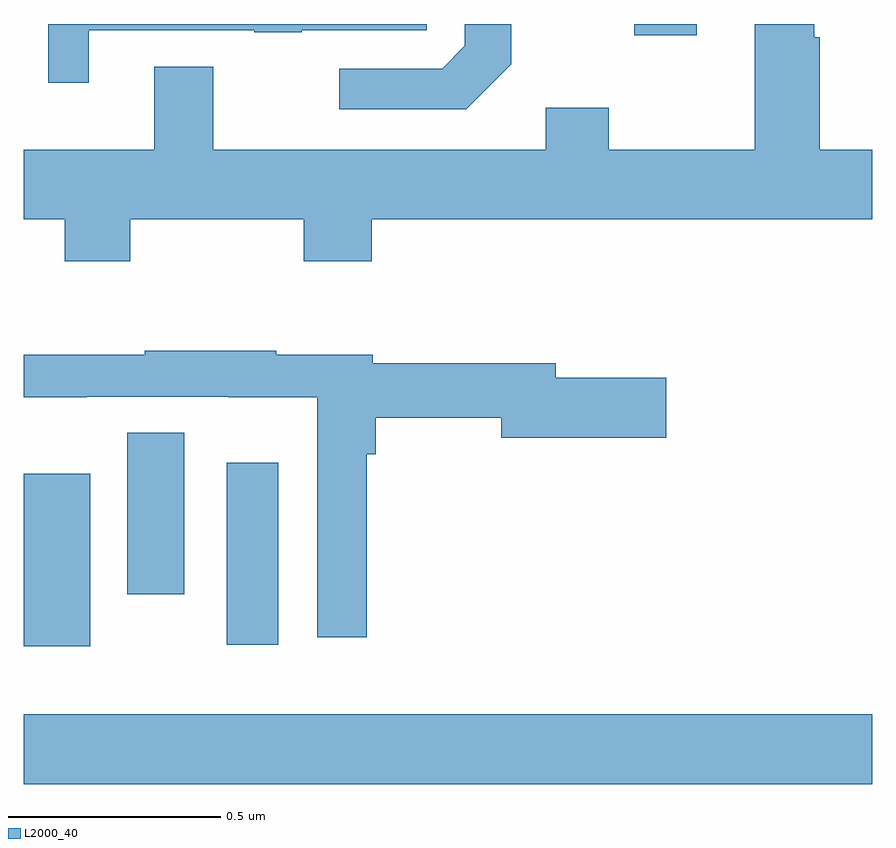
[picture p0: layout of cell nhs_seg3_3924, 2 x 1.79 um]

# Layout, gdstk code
import gdstk
lib = gdstk.Library(unit=1e-6, precision=1e-09)
def R(c, l, rs):  # rectangles x0, y0, x1, y1
    for r in rs: c.add(gdstk.rectangle(r[:2], r[2:], *l))
def P(c, l, *ps):  # polygons
    for p in ps: c.add(gdstk.Polygon(p, *l))
L2000_40 = (2000, 40)

nhs_seg3_3924 = lib.new_cell('nhs_seg3_3924')
R(nhs_seg3_3924, L2000_40, [(160,675.608,162,675.772), (160,675.933,160.156,676.339), (160.478,675.936,160.6,676.366), (160.244,676.056,160.378,676.436), (161.439,677.373,161.587,677.4)])
P(nhs_seg3_3924, L2000_40, [(160.251,676.94),(160.66,676.94),(160.66,676.841),(160.82,676.841),(160.82,676.94),(162,676.94),(162,677.104),(161.876,677.104),(161.876,677.369),(161.863,677.369),(161.863,677.4),(161.723,677.4),(161.723,677.104),(161.379,677.104),(161.379,677.203),(161.231,677.203),(161.231,677.104),(160.447,677.104),(160.447,677.299),(160.307,677.299),(160.307,677.104),(160,677.104),(160,676.94),(160.096,676.94),(160.096,676.841),(160.251,676.841)],
  [(161.149,677.305),(161.149,677.4),(161.04,677.4),(161.04,677.349),(160.986,677.295),(160.743,677.295),(160.743,677.199),(161.043,677.199)],
  [(160.153,677.385),(160.543,677.385),(160.543,677.38),(160.655,677.38),(160.655,677.385),(160.95,677.385),(160.95,677.4),(160.057,677.4),(160.057,677.262),(160.153,677.262)],
  [(160.808,676.385),(160.83,676.385),(160.83,676.471),(161.126,676.471),(161.126,676.424),(161.515,676.424),(161.515,676.566),(161.254,676.566),(161.254,676.6),(160.822,676.6),(160.822,676.62),(160.595,676.62),(160.595,676.63),(160.285,676.63),(160.285,676.62),(160,676.62),(160,676.52),(160.148,676.52),(160.148,676.521),(160.482,676.521),(160.482,676.52),(160.692,676.52),(160.692,675.954),(160.808,675.954)])

lib.write_gds('nhs_seg3_3924.gds')
